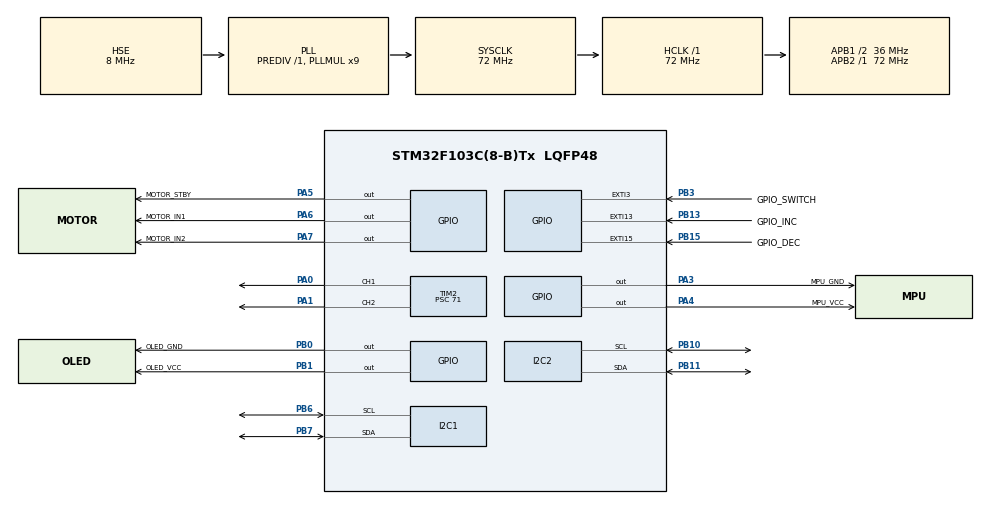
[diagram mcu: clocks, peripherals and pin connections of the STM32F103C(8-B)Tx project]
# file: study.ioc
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I2C1.I2C_Mode=I2C_Fast
I2C2.I2C_Mode=I2C_Fast
Mcu.Family=STM32F1
Mcu.Name=STM32F103C(8-B)Tx
Mcu.Package=LQFP48
NVIC.EXTI15_10_IRQn=true\:0\:0\:false\:false\:true\:true\:true\:true
NVIC.EXTI3_IRQn=true\:0\:0\:false\:false\:true\:true\:true\:true
NVIC.PriorityGroup=NVIC_PRIORITYGROUP_4
NVIC.TIM2_IRQn=true\:0\:0\:false\:false\:true\:true\:true\:true
NVIC.TIM3_IRQn=true\:0\:0\:false\:false\:true\:true\:true\:true
NVIC.TIM4_IRQn=true\:0\:0\:false\:false\:true\:true\:true\:true
PA0-WKUP.Signal=S_TIM2_CH1_ETR
PA1.Signal=S_TIM2_CH2
PA13.Mode=Serial_Wire
PA13.Signal=SYS_JTMS-SWDIO
PA14.Mode=Serial_Wire
PA14.Signal=SYS_JTCK-SWCLK
PA3.GPIO_Label=MPU_GND
PA3.Signal=GPIO_Output
PA4.GPIO_Label=MPU_VCC
PA4.Signal=GPIO_Output
PA5.GPIO_Label=MOTOR_STBY
PA5.Signal=GPIO_Output
PA6.GPIO_Label=MOTOR_IN1
PA6.Signal=GPIO_Output
PA7.GPIO_Label=MOTOR_IN2
PA7.Signal=GPIO_Output
PB0.GPIO_Label=OLED_GND
PB0.Signal=GPIO_Output
PB1.GPIO_Label=OLED_VCC
PB1.Signal=GPIO_Output
PB10.Mode=I2C
PB10.Signal=I2C2_SCL
PB11.Mode=I2C
PB11.Signal=I2C2_SDA
PB13.GPIO_Label=GPIO_INC
PB13.GPIO_ModeDefaultEXTI=GPIO_MODE_IT_FALLING
PB13.GPIO_PuPd=GPIO_PULLUP
PB13.Signal=GPXTI13
PB15.GPIO_Label=GPIO_DEC
PB15.GPIO_ModeDefaultEXTI=GPIO_MODE_IT_FALLING
PB15.GPIO_PuPd=GPIO_PULLUP
PB15.Signal=GPXTI15
PB3.GPIO_Label=GPIO_SWITCH
PB3.GPIO_ModeDefaultEXTI=GPIO_MODE_IT_FALLING
PB3.GPIO_PuPd=GPIO_PULLUP
PB3.Signal=GPXTI3
PB6.Mode=I2C
PB6.Signal=I2C1_SCL
PB7.Mode=I2C
PB7.Signal=I2C1_SDA
PD0-OSC_IN.Mode=HSE-External-Oscillator
PD0-OSC_IN.Signal=RCC_OSC_IN
PD1-OSC_OUT.Mode=HSE-External-Oscillator
PD1-OSC_OUT.Signal=RCC_OSC_OUT
ProjectManager.HeapSize=0x200
ProjectManager.StackSize=0x400
ProjectManager.TargetToolchain=CMake
RCC.AHBFreq_Value=72000000
RCC.APB1CLKDivider=RCC_HCLK_DIV2
RCC.APB1Freq_Value=36000000
RCC.APB1TimFreq_Value=72000000
RCC.APB2Freq_Value=72000000
RCC.APB2TimFreq_Value=72000000
RCC.HCLKFreq_Value=72000000
RCC.PLLMUL=RCC_PLL_MUL9
RCC.PLLSourceVirtual=RCC_PLLSOURCE_HSE
RCC.SYSCLKFreq_VALUE=72000000
RCC.SYSCLKSource=RCC_SYSCLKSOURCE_PLLCLK
RCC.USBFreq_Value=72000000
SH.S_TIM2_CH1_ETR.0=TIM2_CH1,PWM Generation1 CH1
SH.S_TIM2_CH2.0=TIM2_CH2,PWM Generation2 CH2
TIM2.AutoReloadPreload=TIM_AUTORELOAD_PRELOAD_ENABLE
TIM2.Channel-PWM\ Generation1\ CH1=TIM_CHANNEL_1
TIM2.Channel-PWM\ Generation2\ CH2=TIM_CHANNEL_2
TIM2.Period=999
TIM2.Prescaler=71
TIM3.AutoReloadPreload=TIM_AUTORELOAD_PRELOAD_ENABLE
TIM3.Period=99
TIM3.Prescaler=7199
TIM4.AutoReloadPreload=TIM_AUTORELOAD_PRELOAD_ENABLE
TIM4.Period=99
TIM4.Prescaler=7199
VP_TIM2_VS_ClockSourceINT.Mode=Internal
VP_TIM3_VS_ClockSourceINT.Mode=Internal
VP_TIM4_VS_ClockSourceINT.Mode=Internal
board=custom

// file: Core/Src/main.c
/* USER CODE BEGIN Header */
/**
  ******************************************************************************
  * @file           : main.c
  * @brief          : Main program body
  ******************************************************************************
  * @attention
  *
  * Copyright (c) 2025 STMicroelectronics.
  * All rights reserved.
  *
  * This software is licensed under terms that can be found in the LICENSE file
  * in the root directory of this software component.
  * If no LICENSE file comes with this software, it is provided AS-IS.
  *
  ******************************************************************************
  */
/* USER CODE END Header */
#include "main.h"
#include "i2c.h"
#include "tim.h"
#include "gpio.h"

/* USER CODE BEGIN Includes */
#include "motor.h"
#include "oled.h"
#include "mpu6050.h"
#include "key_num.h"
/* USER CODE END Includes */

/* USER CODE BEGIN PV */
static uint32_t oled_tick = 0; // [新增] 用来记录OLED刷新时间的静态变量
static Motor_t M0;
MPU6050_t MPU6050;
uint8_t Key_Val;
Key_Value Key_Ctrl = {0, 0, 0};
/* USER CODE END PV */

void SystemClock_Config(void);

int main(void)
{

  /* MCU Configuration--------------------------------------------------------*/

  /* Reset of all peripherals, Initializes the Flash interface and the Systick. */
  HAL_Init();

  /* Configure the system clock */
  SystemClock_Config();

  /* Initialize all configured peripherals */
  MX_GPIO_Init();
  MX_TIM2_Init();
  MX_TIM3_Init();
  MX_I2C2_Init();
  MX_I2C1_Init();
  MX_TIM4_Init();
  /* USER CODE BEGIN 2 */
  HAL_TIM_Base_Start_IT(&htim4);
  OLED_Init();       // 1. 初始化屏幕
  OLED_Clear();      // 2. 上电清屏（重要，防止花屏）
  while (MPU6050_Init(&hi2c1) == 1);
  Motor_init(&M0);   // 3. 电机初始化

  // --- 1. 静态UI绘制 (只画一次，防止屏幕闪烁) ---
  OLED_ShowString(1, 1, "Spd:");   // 第1行显示速度
  OLED_ShowString(2, 1, "Run:");   // 第2行显示开关状态
  OLED_ShowString(3, 1, "Dec:");   // 第3行显示减速键状态
  OLED_ShowString(3, 9, "Inc:");   // 第3行显示加速键状态
  OLED_ShowString(4, 3, "F:");

  /* USER CODE END 2 */

  /* Infinite loop */
  /* USER CODE BEGIN WHILE */
  while (1)
  {
    Process_Key_Num(&Key_Ctrl, &Key_Val); // 1. 把按键转换为结构体里的 0/1 指令

    MPU6050_Read_All(&hi2c1, &MPU6050);

    // --- 2. 动态刷新区域 (显示当前状态) ---
    // 注意：必须放在 Motor_Key_Control 之前！
    // 否则 dec/inc 被执行完就变成 0 了，屏幕上看不见变化。

    // 显示速度 (3位长度 + 符号位)
    OLED_ShowSignedNum(1, 5, M0.speed, 3);

    // 显示 ON/OFF 状态
    if (Key_Ctrl.on_off == 1)
    {
        OLED_ShowString(2, 5, "ON ");
    }
    else
    {
        OLED_ShowString(2, 5, "OFF");
    }

    // 显示按键指令状态 (你会看到按下时数字短暂变 1)
    OLED_ShowNum(3, 5, Key_Ctrl.dec, 1);
    OLED_ShowNum(3, 13, Key_Ctrl.inc, 1);
    // [修改] 使用 HAL_GetTick 实现每 200ms 刷新一次 MPU6050 数据
    if (HAL_GetTick() - oled_tick >= 20)
    {
        oled_tick = HAL_GetTick(); // 更新时间戳

        // 把这行代码放在这里，它就只会在每200ms执行一次
        OLED_ShowSignedNum(4, 6, MPU6050.Gz, 5);

    }

    // --- 3. 执行电机控制 ---
    // 这一步会读取 Key_Ctrl，执行加速/减速，然后把 dec/inc 归零
    Motor_Key_Control(&M0, &Key_Ctrl);

    /* USER CODE END WHILE */

    /* USER CODE BEGIN 3 */
    //HAL_Delay(100);
  }
  /* USER CODE END 3 */
}

void SystemClock_Config(void)
{
  RCC_OscInitTypeDef RCC_OscInitStruct = {0};
  RCC_ClkInitTypeDef RCC_ClkInitStruct = {0};

  /** Initializes the RCC Oscillators according to the specified parameters
  * in the RCC_OscInitTypeDef structure.
  */
  RCC_OscInitStruct.OscillatorType = RCC_OSCILLATORTYPE_HSE;
  RCC_OscInitStruct.HSEState = RCC_HSE_ON;
  RCC_OscInitStruct.HSEPredivValue = RCC_HSE_PREDIV_DIV1;
  RCC_OscInitStruct.HSIState = RCC_HSI_ON;
  RCC_OscInitStruct.PLL.PLLState = RCC_PLL_ON;
  RCC_OscInitStruct.PLL.PLLSource = RCC_PLLSOURCE_HSE;
  RCC_OscInitStruct.PLL.PLLMUL = RCC_PLL_MUL9;
  if (HAL_RCC_OscConfig(&RCC_OscInitStruct) != HAL_OK)
  {
    Error_Handler();
  }

  /** Initializes the CPU, AHB and APB buses clocks
  */
  RCC_ClkInitStruct.ClockType = RCC_CLOCKTYPE_HCLK|RCC_CLOCKTYPE_SYSCLK
                              |RCC_CLOCKTYPE_PCLK1|RCC_CLOCKTYPE_PCLK2;
  RCC_ClkInitStruct.SYSCLKSource = RCC_SYSCLKSOURCE_PLLCLK;
  RCC_ClkInitStruct.AHBCLKDivider = RCC_SYSCLK_DIV1;
  RCC_ClkInitStruct.APB1CLKDivider = RCC_HCLK_DIV2;
  RCC_ClkInitStruct.APB2CLKDivider = RCC_HCLK_DIV1;

  if (HAL_RCC_ClockConfig(&RCC_ClkInitStruct, FLASH_LATENCY_2) != HAL_OK)
  {
    Error_Handler();
  }
}

/* USER CODE BEGIN 4 */
void HAL_TIM_PeriodElapsedCallback(TIM_HandleTypeDef *htim)
{

}
/* USER CODE END 4 */

void Error_Handler(void)
{
  __disable_irq();
  while (1)
  {
  }
}
